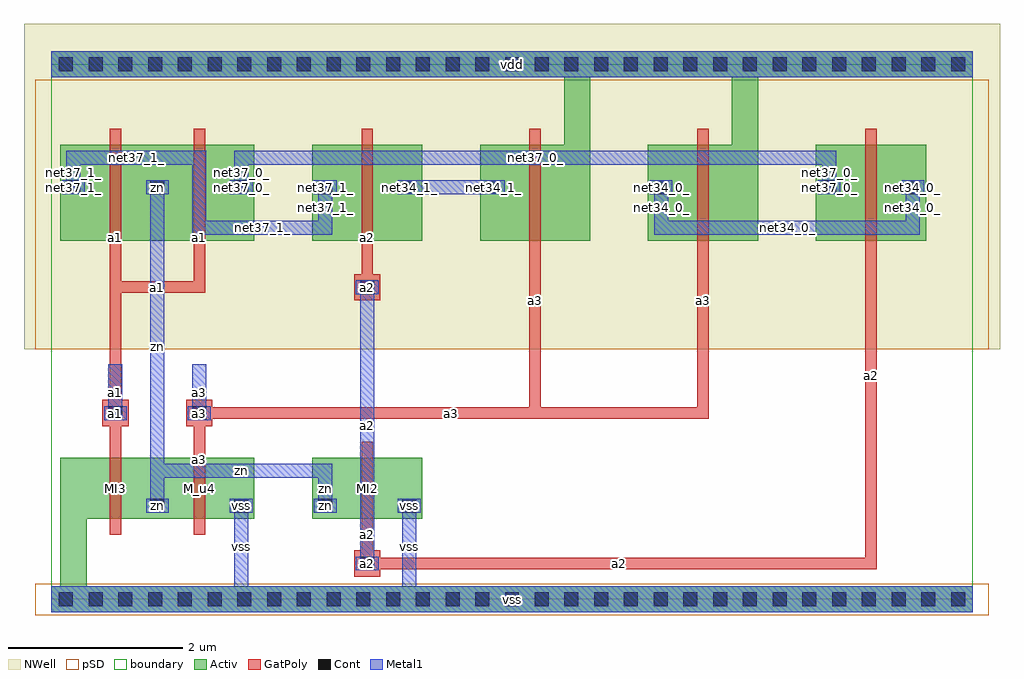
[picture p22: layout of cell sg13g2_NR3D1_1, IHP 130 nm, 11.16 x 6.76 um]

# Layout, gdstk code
import gdstk
lib = gdstk.Library(unit=1e-6, precision=1e-09)
def R(c, l, rs):  # rectangles x0, y0, x1, y1
    for r in rs: c.add(gdstk.rectangle(r[:2], r[2:], *l))
def A(c, l, x, y, w, h, nx, ny, dx, dy):  # array of equal rectangles
    R(c, l, [(x+i*dx, y+j*dy, x+i*dx+w, y+j*dy+h) for i in range(nx) for j in range(ny)])
Activ = (1, 0)
GatPoly = (5, 0)
Cont = (6, 0)
Metal1 = (8, 0)
pSD = (14, 0)
NWell = (31, 0)
TEXT = (63, 0)
boundary = (189, 4)

sg13g2_nr3d1_1 = lib.new_cell('sg13g2_NR3D1_1')
A(sg13g2_nr3d1_1, Activ, 1.065, 0.92, 0.3, 0.3, 4, 1, 0.96, 0)
A(sg13g2_nr3d1_1, Activ, 1.065, 4.1, 1.26, 1.1, 5, 1, 1.92, 0)
A(sg13g2_nr3d1_1, Activ, 0.105, 4.56, 0.3, 0.3, 6, 1, 0.96, 0)
R(sg13g2_nr3d1_1, Activ, [(0,-0.15,10.54,0.15), (0.105,0.15,0.405,1.07), (0.105,0.92,1.365,1.62), (1.065,0.92,2.325,1.62), (2.985,0.92,4.245,1.62), (0.105,4.1,1.365,5.2), (6.825,4.56,7.125,4.86), (8.745,4.56,9.045,4.86), (9.705,4.56,10.005,4.86), (5.865,4.71,6.165,5.97), (7.785,4.71,8.085,5.97), (0,5.97,10.54,6.27)])
A(sg13g2_nr3d1_1, GatPoly, 1.63, 3.92, 0.13, 1.46, 5, 1, 1.92, 0)
R(sg13g2_nr3d1_1, GatPoly, [(3.465,0.26,3.765,0.56), (3.55,0.345,9.44,0.475), (3.55,0.345,3.68,1.135), (9.31,0.345,9.44,4.775), (0.67,0.74,0.8,1.8), (1.63,0.74,1.76,1.8), (3.55,0.74,3.68,1.8), (0.67,1.005,0.8,3.635), (1.63,1.005,1.76,2.195), (0.585,1.98,0.885,2.28), (1.545,1.98,1.845,2.28), (1.63,2.065,7.52,2.195), (5.47,2.065,5.6,4.775), (7.39,2.065,7.52,4.775), (3.465,3.42,3.765,3.72), (0.67,3.505,0.8,4.775), (0.67,3.505,1.76,3.635), (1.63,3.505,1.76,4.775), (3.55,3.505,3.68,4.775), (0.67,3.92,0.8,5.38)])
A(sg13g2_nr3d1_1, Cont, 0.09, -0.08, 0.16, 0.16, 31, 2, 0.34, 6.12)
A(sg13g2_nr3d1_1, Cont, 1.135, 0.99, 0.16, 0.16, 4, 1, 0.96, 0)
A(sg13g2_nr3d1_1, Cont, 0.175, 4.63, 0.16, 0.16, 6, 1, 0.96, 0)
R(sg13g2_nr3d1_1, Cont, [(3.535,0.33,3.695,0.49), (0.655,2.05,0.815,2.21), (1.615,2.05,1.775,2.21), (3.535,3.49,3.695,3.65), (6.895,4.63,7.055,4.79), (8.815,4.63,8.975,4.79), (9.775,4.63,9.935,4.79)])
A(sg13g2_nr3d1_1, Metal1, 1.085, 0.99, 0.26, 0.16, 4, 1, 0.96, 0)
A(sg13g2_nr3d1_1, Metal1, 0.125, 4.63, 0.26, 0.16, 6, 1, 0.96, 0)
R(sg13g2_nr3d1_1, Metal1, [(0,-0.15,10.54,0.15), (2.095,0.07,2.255,1.15), (4.015,0.07,4.175,1.15), (3.485,0.33,3.745,0.49), (3.535,0.33,3.695,3.65), (1.135,0.99,1.295,4.79), (3.055,0.99,3.215,1.55), (1.135,1.39,3.215,1.55), (0.605,2.05,0.865,2.21), (0.655,2.05,0.815,2.69), (1.565,2.05,1.825,2.21), (1.615,2.05,1.775,2.69), (3.485,3.49,3.745,3.65), (1.615,4.17,3.215,4.33), (1.615,4.17,1.775,5.13), (3.055,4.17,3.215,4.79), (6.895,4.17,7.055,4.79), (6.895,4.17,9.935,4.33), (9.775,4.17,9.935,4.79), (0.175,4.63,0.335,5.13), (2.095,4.63,2.255,5.13), (4.015,4.63,5.135,4.79), (6.845,4.63,7.105,4.79), (8.765,4.63,9.025,4.79), (8.815,4.63,8.975,5.13), (9.725,4.63,9.985,4.79), (0.175,4.97,1.775,5.13), (2.095,4.97,8.975,5.13), (0,5.97,10.54,6.27)])
R(sg13g2_nr3d1_1, pSD, [(-0.18,-0.18,10.72,0.18), (-0.18,2.86,10.72,5.94)])
R(sg13g2_nr3d1_1, NWell, [(-0.31,2.86,10.85,6.58)])
R(sg13g2_nr3d1_1, boundary, [(0,0,10.54,6.12)])
sg13g2_nr3d1_1.add(gdstk.FlexPath([(0.105,0.41),(10.005,0.41)], 0, ends="flush", simple_path=True, layer=63, datatype=0))  # TEXT
sg13g2_nr3d1_1.add(gdstk.FlexPath([(0.105,1.07),(10.005,1.07)], 0, ends="flush", simple_path=True, layer=63, datatype=0))  # TEXT
sg13g2_nr3d1_1.add(gdstk.FlexPath([(0.105,1.47),(10.005,1.47)], 0, ends="flush", simple_path=True, layer=63, datatype=0))  # TEXT
sg13g2_nr3d1_1.add(gdstk.FlexPath([(0.105,2.13),(10.005,2.13)], 0, ends="flush", simple_path=True, layer=63, datatype=0))  # TEXT
sg13g2_nr3d1_1.add(gdstk.FlexPath([(0.105,2.61),(10.005,2.61)], 0, ends="flush", simple_path=True, layer=63, datatype=0))  # TEXT
sg13g2_nr3d1_1.add(gdstk.FlexPath([(0.105,3.09),(10.005,3.09)], 0, ends="flush", simple_path=True, layer=63, datatype=0))  # TEXT
sg13g2_nr3d1_1.add(gdstk.FlexPath([(0.105,3.57),(10.005,3.57)], 0, ends="flush", simple_path=True, layer=63, datatype=0))  # TEXT
sg13g2_nr3d1_1.add(gdstk.FlexPath([(0.105,4.25),(10.005,4.25)], 0, ends="flush", simple_path=True, layer=63, datatype=0))  # TEXT
sg13g2_nr3d1_1.add(gdstk.FlexPath([(0.105,4.71),(10.005,4.71)], 0, ends="flush", simple_path=True, layer=63, datatype=0))  # TEXT
sg13g2_nr3d1_1.add(gdstk.FlexPath([(0.105,5.05),(10.005,5.05)], 0, ends="flush", simple_path=True, layer=63, datatype=0))  # TEXT
sg13g2_nr3d1_1.add(gdstk.FlexPath([(0.105,5.71),(10.005,5.71)], 0, ends="flush", simple_path=True, layer=63, datatype=0))  # TEXT
sg13g2_nr3d1_1.add(gdstk.FlexPath([(0.255,0.07),(0.255,5.97)], 0, ends="flush", simple_path=True, layer=63, datatype=0))  # TEXT
sg13g2_nr3d1_1.add(gdstk.FlexPath([(0.735,0.07),(0.735,5.97)], 0, ends="flush", simple_path=True, layer=63, datatype=0))  # TEXT
sg13g2_nr3d1_1.add(gdstk.FlexPath([(1.215,0.07),(1.215,5.97)], 0, ends="flush", simple_path=True, layer=63, datatype=0))  # TEXT
sg13g2_nr3d1_1.add(gdstk.FlexPath([(1.695,0.07),(1.695,5.97)], 0, ends="flush", simple_path=True, layer=63, datatype=0))  # TEXT
sg13g2_nr3d1_1.add(gdstk.FlexPath([(2.175,0.07),(2.175,5.97)], 0, ends="flush", simple_path=True, layer=63, datatype=0))  # TEXT
sg13g2_nr3d1_1.add(gdstk.FlexPath([(2.655,0.07),(2.655,5.97)], 0, ends="flush", simple_path=True, layer=63, datatype=0))  # TEXT
sg13g2_nr3d1_1.add(gdstk.FlexPath([(3.135,0.07),(3.135,5.97)], 0, ends="flush", simple_path=True, layer=63, datatype=0))  # TEXT
sg13g2_nr3d1_1.add(gdstk.FlexPath([(3.615,0.07),(3.615,5.97)], 0, ends="flush", simple_path=True, layer=63, datatype=0))  # TEXT
sg13g2_nr3d1_1.add(gdstk.FlexPath([(4.095,0.07),(4.095,5.97)], 0, ends="flush", simple_path=True, layer=63, datatype=0))  # TEXT
sg13g2_nr3d1_1.add(gdstk.FlexPath([(4.575,0.07),(4.575,5.97)], 0, ends="flush", simple_path=True, layer=63, datatype=0))  # TEXT
sg13g2_nr3d1_1.add(gdstk.FlexPath([(5.055,0.07),(5.055,5.97)], 0, ends="flush", simple_path=True, layer=63, datatype=0))  # TEXT
sg13g2_nr3d1_1.add(gdstk.FlexPath([(5.535,0.07),(5.535,5.97)], 0, ends="flush", simple_path=True, layer=63, datatype=0))  # TEXT
sg13g2_nr3d1_1.add(gdstk.FlexPath([(6.015,0.07),(6.015,5.97)], 0, ends="flush", simple_path=True, layer=63, datatype=0))  # TEXT
sg13g2_nr3d1_1.add(gdstk.FlexPath([(6.495,0.07),(6.495,5.97)], 0, ends="flush", simple_path=True, layer=63, datatype=0))  # TEXT
sg13g2_nr3d1_1.add(gdstk.FlexPath([(6.975,0.07),(6.975,5.97)], 0, ends="flush", simple_path=True, layer=63, datatype=0))  # TEXT
sg13g2_nr3d1_1.add(gdstk.FlexPath([(7.455,0.07),(7.455,5.97)], 0, ends="flush", simple_path=True, layer=63, datatype=0))  # TEXT
sg13g2_nr3d1_1.add(gdstk.FlexPath([(7.935,0.07),(7.935,5.97)], 0, ends="flush", simple_path=True, layer=63, datatype=0))  # TEXT
sg13g2_nr3d1_1.add(gdstk.FlexPath([(8.415,0.07),(8.415,5.97)], 0, ends="flush", simple_path=True, layer=63, datatype=0))  # TEXT
sg13g2_nr3d1_1.add(gdstk.FlexPath([(8.895,0.07),(8.895,5.97)], 0, ends="flush", simple_path=True, layer=63, datatype=0))  # TEXT
sg13g2_nr3d1_1.add(gdstk.FlexPath([(9.375,0.07),(9.375,5.97)], 0, ends="flush", simple_path=True, layer=63, datatype=0))  # TEXT
sg13g2_nr3d1_1.add(gdstk.FlexPath([(9.855,0.07),(9.855,5.97)], 0, ends="flush", simple_path=True, layer=63, datatype=0))  # TEXT
sg13g2_nr3d1_1.add(gdstk.Label('zn', (1.215,1.07), layer=6, texttype=0))
sg13g2_nr3d1_1.add(gdstk.Label('zn', (3.135,1.07), layer=6, texttype=0))
sg13g2_nr3d1_1.add(gdstk.Label('zn', (1.215,4.71), layer=6, texttype=0))
sg13g2_nr3d1_1.add(gdstk.Label('a3', (1.695,2.13), layer=6, texttype=0))
sg13g2_nr3d1_1.add(gdstk.Label('a2', (3.615,0.41), layer=6, texttype=0))
sg13g2_nr3d1_1.add(gdstk.Label('a2', (3.615,3.57), layer=6, texttype=0))
sg13g2_nr3d1_1.add(gdstk.Label('a1', (0.735,2.13), layer=6, texttype=0))
sg13g2_nr3d1_1.add(gdstk.Label('net37_0_', (8.895,4.71), layer=6, texttype=0))
sg13g2_nr3d1_1.add(gdstk.Label('net37_0_', (2.175,4.71), layer=6, texttype=0))
sg13g2_nr3d1_1.add(gdstk.Label('net34_0_', (9.855,4.71), layer=6, texttype=0))
sg13g2_nr3d1_1.add(gdstk.Label('net34_0_', (6.975,4.71), layer=6, texttype=0))
sg13g2_nr3d1_1.add(gdstk.Label('net34_1_', (5.055,4.71), layer=6, texttype=0))
sg13g2_nr3d1_1.add(gdstk.Label('net34_1_', (4.095,4.71), layer=6, texttype=0))
sg13g2_nr3d1_1.add(gdstk.Label('net37_1_', (3.135,4.71), layer=6, texttype=0))
sg13g2_nr3d1_1.add(gdstk.Label('net37_1_', (0.255,4.71), layer=6, texttype=0))
sg13g2_nr3d1_1.add(gdstk.Label('vss', (2.175,1.07), layer=6, texttype=0))
sg13g2_nr3d1_1.add(gdstk.Label('vss', (4.095,1.07), layer=6, texttype=0))
sg13g2_nr3d1_1.add(gdstk.Label('net37_0_', (8.895,4.71), layer=8, texttype=0))
sg13g2_nr3d1_1.add(gdstk.Label('net37_0_', (2.175,4.71), layer=8, texttype=0))
sg13g2_nr3d1_1.add(gdstk.Label('net37_0_', (8.895,4.88), layer=8, texttype=0))
sg13g2_nr3d1_1.add(gdstk.Label('net37_0_', (5.535,5.05), layer=8, texttype=0))
sg13g2_nr3d1_1.add(gdstk.Label('net37_0_', (2.175,4.88), layer=8, texttype=0))
sg13g2_nr3d1_1.add(gdstk.Label('net34_0_', (9.855,4.71), layer=8, texttype=0))
sg13g2_nr3d1_1.add(gdstk.Label('net34_0_', (6.975,4.71), layer=8, texttype=0))
sg13g2_nr3d1_1.add(gdstk.Label('net34_0_', (9.855,4.48), layer=8, texttype=0))
sg13g2_nr3d1_1.add(gdstk.Label('net34_0_', (8.415,4.25), layer=8, texttype=0))
sg13g2_nr3d1_1.add(gdstk.Label('net34_0_', (6.975,4.48), layer=8, texttype=0))
sg13g2_nr3d1_1.add(gdstk.Label('net34_1_', (5.055,4.71), layer=8, texttype=0))
sg13g2_nr3d1_1.add(gdstk.Label('net34_1_', (4.095,4.71), layer=8, texttype=0))
sg13g2_nr3d1_1.add(gdstk.Label('net34_1_', (4.575,4.71), layer=8, texttype=0))
sg13g2_nr3d1_1.add(gdstk.Label('net37_1_', (3.135,4.71), layer=8, texttype=0))
sg13g2_nr3d1_1.add(gdstk.Label('net37_1_', (0.255,4.71), layer=8, texttype=0))
sg13g2_nr3d1_1.add(gdstk.Label('net37_1_', (3.135,4.48), layer=8, texttype=0))
sg13g2_nr3d1_1.add(gdstk.Label('net37_1_', (2.415,4.25), layer=8, texttype=0))
sg13g2_nr3d1_1.add(gdstk.Label('net37_1_', (1.695,4.65), layer=8, texttype=0))
sg13g2_nr3d1_1.add(gdstk.Label('net37_1_', (0.975,5.05), layer=8, texttype=0))
sg13g2_nr3d1_1.add(gdstk.Label('net37_1_', (0.255,4.88), layer=8, texttype=0))
sg13g2_nr3d1_1.add(gdstk.Label('vss', (2.175,1.07), layer=8, texttype=0))
sg13g2_nr3d1_1.add(gdstk.Label('vss', (2.175,0.61), layer=8, texttype=0))
sg13g2_nr3d1_1.add(gdstk.Label('vss', (4.095,1.07), layer=8, texttype=0))
sg13g2_nr3d1_1.add(gdstk.Label('vss', (4.095,0.61), layer=8, texttype=0))
sg13g2_nr3d1_1.add(gdstk.Label('zn', (1.215,1.07), layer=8, texttype=25))
sg13g2_nr3d1_1.add(gdstk.Label('zn', (3.135,1.07), layer=8, texttype=25))
sg13g2_nr3d1_1.add(gdstk.Label('zn', (1.215,4.71), layer=8, texttype=25))
sg13g2_nr3d1_1.add(gdstk.Label('zn', (1.215,2.89), layer=8, texttype=25))
sg13g2_nr3d1_1.add(gdstk.Label('zn', (3.135,1.27), layer=8, texttype=25))
sg13g2_nr3d1_1.add(gdstk.Label('zn', (2.175,1.47), layer=8, texttype=25))
sg13g2_nr3d1_1.add(gdstk.Label('a3', (1.695,2.13), layer=8, texttype=25))
sg13g2_nr3d1_1.add(gdstk.Label('a3', (1.695,2.37), layer=8, texttype=25))
sg13g2_nr3d1_1.add(gdstk.Label('a2', (3.615,0.41), layer=8, texttype=25))
sg13g2_nr3d1_1.add(gdstk.Label('a2', (3.615,1.99), layer=8, texttype=25))
sg13g2_nr3d1_1.add(gdstk.Label('a2', (3.615,3.57), layer=8, texttype=25))
sg13g2_nr3d1_1.add(gdstk.Label('a1', (0.735,2.13), layer=8, texttype=25))
sg13g2_nr3d1_1.add(gdstk.Label('a1', (0.735,2.37), layer=8, texttype=25))
sg13g2_nr3d1_1.add(gdstk.Label('vss', (5.27,0), layer=8, texttype=25))
sg13g2_nr3d1_1.add(gdstk.Label('vdd', (5.27,6.12), layer=8, texttype=25))
sg13g2_nr3d1_1.add(gdstk.Label('M_u4', (1.695,1.27), layer=1, texttype=0))
sg13g2_nr3d1_1.add(gdstk.Label('MI2', (3.615,1.27), layer=1, texttype=0))
sg13g2_nr3d1_1.add(gdstk.Label('MI3', (0.735,1.27), layer=1, texttype=0))
sg13g2_nr3d1_1.add(gdstk.Label('MI4_0', (9.375,4.65), layer=1, texttype=0))
sg13g2_nr3d1_1.add(gdstk.Label('M_u1_0', (7.455,4.65), layer=1, texttype=0))
sg13g2_nr3d1_1.add(gdstk.Label('M_u1_1', (5.535,4.65), layer=1, texttype=0))
sg13g2_nr3d1_1.add(gdstk.Label('MI4_1', (3.615,4.65), layer=1, texttype=0))
sg13g2_nr3d1_1.add(gdstk.Label('MI5_0', (1.695,4.65), layer=1, texttype=0))
sg13g2_nr3d1_1.add(gdstk.Label('MI5_1', (0.735,4.65), layer=1, texttype=0))
sg13g2_nr3d1_1.add(gdstk.Label('zn', (1.215,1.07), layer=1, texttype=0))
sg13g2_nr3d1_1.add(gdstk.Label('zn', (3.135,1.07), layer=1, texttype=0))
sg13g2_nr3d1_1.add(gdstk.Label('zn', (1.215,4.71), layer=1, texttype=0))
sg13g2_nr3d1_1.add(gdstk.Label('net37_0_', (8.895,4.71), layer=1, texttype=0))
sg13g2_nr3d1_1.add(gdstk.Label('net37_0_', (2.175,4.71), layer=1, texttype=0))
sg13g2_nr3d1_1.add(gdstk.Label('net34_0_', (9.855,4.71), layer=1, texttype=0))
sg13g2_nr3d1_1.add(gdstk.Label('net34_0_', (6.975,4.71), layer=1, texttype=0))
sg13g2_nr3d1_1.add(gdstk.Label('net34_1_', (5.055,4.71), layer=1, texttype=0))
sg13g2_nr3d1_1.add(gdstk.Label('net34_1_', (4.095,4.71), layer=1, texttype=0))
sg13g2_nr3d1_1.add(gdstk.Label('net37_1_', (3.135,4.71), layer=1, texttype=0))
sg13g2_nr3d1_1.add(gdstk.Label('net37_1_', (0.255,4.71), layer=1, texttype=0))
sg13g2_nr3d1_1.add(gdstk.Label('vss', (2.175,1.07), layer=1, texttype=0))
sg13g2_nr3d1_1.add(gdstk.Label('vss', (4.095,1.07), layer=1, texttype=0))
sg13g2_nr3d1_1.add(gdstk.Label('a3', (1.695,1.6), layer=5, texttype=0))
sg13g2_nr3d1_1.add(gdstk.Label('a3', (4.575,2.13), layer=5, texttype=0))
sg13g2_nr3d1_1.add(gdstk.Label('a3', (7.455,3.42), layer=5, texttype=0))
sg13g2_nr3d1_1.add(gdstk.Label('a3', (5.535,3.42), layer=5, texttype=0))
sg13g2_nr3d1_1.add(gdstk.Label('a3', (1.695,2.13), layer=5, texttype=0))
sg13g2_nr3d1_1.add(gdstk.Label('a2', (3.615,0.74), layer=5, texttype=0))
sg13g2_nr3d1_1.add(gdstk.Label('a2', (6.495,0.41), layer=5, texttype=0))
sg13g2_nr3d1_1.add(gdstk.Label('a2', (9.375,2.56), layer=5, texttype=0))
sg13g2_nr3d1_1.add(gdstk.Label('a2', (3.615,0.41), layer=5, texttype=0))
sg13g2_nr3d1_1.add(gdstk.Label('a2', (3.615,3.57), layer=5, texttype=0))
sg13g2_nr3d1_1.add(gdstk.Label('a2', (3.615,4.14), layer=5, texttype=0))
sg13g2_nr3d1_1.add(gdstk.Label('a1', (0.735,2.32), layer=5, texttype=0))
sg13g2_nr3d1_1.add(gdstk.Label('a1', (1.215,3.57), layer=5, texttype=0))
sg13g2_nr3d1_1.add(gdstk.Label('a1', (1.695,4.14), layer=5, texttype=0))
sg13g2_nr3d1_1.add(gdstk.Label('a1', (0.735,4.14), layer=5, texttype=0))
sg13g2_nr3d1_1.add(gdstk.Label('a1', (0.735,2.13), layer=5, texttype=0))

lib.write_gds('sg13g2_NR3D1_1.gds')
